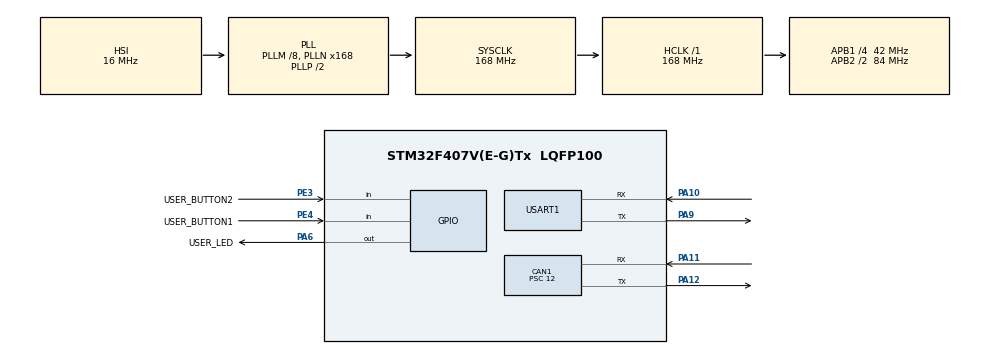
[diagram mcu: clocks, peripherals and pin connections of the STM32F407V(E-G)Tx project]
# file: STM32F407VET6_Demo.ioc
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CAN1.BS1=CAN_BS1_3TQ
CAN1.BS2=CAN_BS2_3TQ
CAN1.CalculateBaudRate=500000
CAN1.CalculateTimeBit=2000
CAN1.CalculateTimeQuantum=285.7142857142857
CAN1.Prescaler=12
CAN1.SJW=CAN_SJW_2TQ
Dma.Request0=USART1_RX
Dma.USART1_RX.0.Direction=DMA_PERIPH_TO_MEMORY
Dma.USART1_RX.0.FIFOMode=DMA_FIFOMODE_DISABLE
Dma.USART1_RX.0.Instance=DMA2_Stream2
Dma.USART1_RX.0.MemDataAlignment=DMA_MDATAALIGN_BYTE
Dma.USART1_RX.0.MemInc=DMA_MINC_ENABLE
Dma.USART1_RX.0.Mode=DMA_CIRCULAR
Dma.USART1_RX.0.PeriphDataAlignment=DMA_PDATAALIGN_BYTE
Dma.USART1_RX.0.PeriphInc=DMA_PINC_DISABLE
Dma.USART1_RX.0.Priority=DMA_PRIORITY_LOW
Mcu.Family=STM32F4
Mcu.Name=STM32F407V(E-G)Tx
Mcu.Package=LQFP100
NVIC.CAN1_RX0_IRQn=true\:0\:0\:false\:false\:true\:true\:true\:true
NVIC.DMA2_Stream2_IRQn=true\:0\:0\:false\:false\:true\:false\:true\:true
NVIC.PriorityGroup=NVIC_PRIORITYGROUP_4
NVIC.TIM6_DAC_IRQn=true\:0\:0\:false\:false\:true\:true\:true\:true
NVIC.TIM7_IRQn=true\:15\:0\:false\:false\:true\:false\:true\:true
NVIC.TimeBase=TIM7_IRQn
NVIC.TimeBaseIP=TIM7
NVIC.USART1_IRQn=true\:0\:0\:false\:false\:true\:true\:true\:true
PA10.Mode=Asynchronous
PA10.Signal=USART1_RX
PA11.Mode=CAN_Activate
PA11.Signal=CAN1_RX
PA12.Mode=CAN_Activate
PA12.Signal=CAN1_TX
PA13.Mode=Serial_Wire
PA13.Signal=SYS_JTMS-SWDIO
PA14.Mode=Serial_Wire
PA14.Signal=SYS_JTCK-SWCLK
PA6.GPIO_Label=USER_LED
PA6.Signal=GPIO_Output
PA9.Mode=Asynchronous
PA9.Signal=USART1_TX
PC14-OSC32_IN.Mode=LSE-External-Oscillator
PC14-OSC32_IN.Signal=RCC_OSC32_IN
PC15-OSC32_OUT.Mode=LSE-External-Oscillator
PC15-OSC32_OUT.Signal=RCC_OSC32_OUT
PE3.GPIO_Label=USER_BUTTON2
PE3.GPIO_PuPd=GPIO_PULLUP
PE3.Signal=GPIO_Input
PE4.GPIO_Label=USER_BUTTON1
PE4.GPIO_PuPd=GPIO_PULLUP
PE4.Signal=GPIO_Input
PH0-OSC_IN.Mode=HSE-External-Oscillator
PH0-OSC_IN.Signal=RCC_OSC_IN
PH1-OSC_OUT.Mode=HSE-External-Oscillator
PH1-OSC_OUT.Signal=RCC_OSC_OUT
ProjectManager.HeapSize=0x200
ProjectManager.StackSize=0x400
ProjectManager.TargetToolchain=STM32CubeIDE
RCC.48MHZClocksFreq_Value=84000000
RCC.AHBFreq_Value=168000000
RCC.APB1CLKDivider=RCC_HCLK_DIV4
RCC.APB1Freq_Value=42000000
RCC.APB1TimFreq_Value=84000000
RCC.APB2CLKDivider=RCC_HCLK_DIV2
RCC.APB2Freq_Value=84000000
RCC.APB2TimFreq_Value=168000000
RCC.CortexFreq_Value=168000000
RCC.HCLKFreq_Value=168000000
RCC.HSE_VALUE=8000000
RCC.HSI_VALUE=16000000
RCC.PLLM=8
RCC.PLLN=168
RCC.SYSCLKFreq_VALUE=168000000
RCC.SYSCLKSource=RCC_SYSCLKSOURCE_PLLCLK
RCC.VCOOutputFreq_Value=336000000
TIM6.Period=49
TIM6.Prescaler=8399
USART1.VirtualMode=VM_ASYNC
VP_RTC_VS_RTC_Activate.Mode=RTC_Enabled
VP_SYS_VS_tim7.Mode=TIM7
VP_TIM6_VS_ClockSourceINT.Mode=Enable_Timer
board=custom

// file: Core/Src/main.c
/* USER CODE BEGIN Header */
/**
  ******************************************************************************
  * @file           : main.c
  * @brief          : Main program body
  ******************************************************************************
  * @attention
  *
  * Copyright (c) 2025 STMicroelectronics.
  * All rights reserved.
  *
  * This software is licensed under terms that can be found in the LICENSE file
  * in the root directory of this software component.
  * If no LICENSE file comes with this software, it is provided AS-IS.
  *
  ******************************************************************************
  */
/* USER CODE END Header */
#include "main.h"
#include "can.h"
#include "dma.h"
#include "rtc.h"
#include "tim.h"
#include "usart.h"
#include "gpio.h"

/* USER CODE BEGIN Includes */
#include "logger.h"
#include "multi_button_user.h"
#include "lwshell/lwshell_user.h"
#include "smarttimer_user.h"
#include "isotp.h"

/* USER CODE END Includes */

/* USER CODE BEGIN PV */
uint8_t isotp_rx_buf[256];
uint32_t isotp_rx_len;
/* USER CODE END PV */

void SystemClock_Config(void);

int main(void)
{

  /* USER CODE BEGIN 1 */
  stim_init();
  //set_timetick();

  /* USER CODE END 1 */

  /* MCU Configuration--------------------------------------------------------*/

  /* Reset of all peripherals, Initializes the Flash interface and the Systick. */
  HAL_Init();

  /* Configure the system clock */
  SystemClock_Config();

  /* Initialize all configured peripherals */
  MX_GPIO_Init();
  MX_DMA_Init();
  MX_USART1_UART_Init();
  MX_TIM6_Init();
  MX_CAN1_Init();
  MX_RTC_Init();
  /* USER CODE BEGIN 2 */

  logger_init();
  uart_init();

  logger_info("System Start!!!");
  /* USER CODE END 2 */

  /* Infinite loop */
  /* USER CODE BEGIN WHILE */

	buttons_init();
  lwshell_user_init();
  isotp_init();

  while (1)
  {
    /* USER CODE END WHILE */

    /* USER CODE BEGIN 3 */
    //HAL_Delay(1000);
    stim_mainloop();
    isotp_polling();
    if(isotp_receiving(isotp_rx_buf, sizeof(isotp_rx_buf), &isotp_rx_len) == ISOTP_RET_OK) {
      /* Handle physical addressing message */
      logger_hex(isotp_rx_buf, isotp_rx_len);
    }
  }
  /* USER CODE END 3 */
}

void SystemClock_Config(void)
{
  RCC_OscInitTypeDef RCC_OscInitStruct = {0};
  RCC_ClkInitTypeDef RCC_ClkInitStruct = {0};

  /** Configure the main internal regulator output voltage
  */
  __HAL_RCC_PWR_CLK_ENABLE();
  __HAL_PWR_VOLTAGESCALING_CONFIG(PWR_REGULATOR_VOLTAGE_SCALE1);

  /** Initializes the RCC Oscillators according to the specified parameters
  * in the RCC_OscInitTypeDef structure.
  */
  RCC_OscInitStruct.OscillatorType = RCC_OSCILLATORTYPE_HSI|RCC_OSCILLATORTYPE_LSI;
  RCC_OscInitStruct.HSIState = RCC_HSI_ON;
  RCC_OscInitStruct.HSICalibrationValue = RCC_HSICALIBRATION_DEFAULT;
  RCC_OscInitStruct.LSIState = RCC_LSI_ON;
  RCC_OscInitStruct.PLL.PLLState = RCC_PLL_ON;
  RCC_OscInitStruct.PLL.PLLSource = RCC_PLLSOURCE_HSI;
  RCC_OscInitStruct.PLL.PLLM = 8;
  RCC_OscInitStruct.PLL.PLLN = 168;
  RCC_OscInitStruct.PLL.PLLP = RCC_PLLP_DIV2;
  RCC_OscInitStruct.PLL.PLLQ = 4;
  if (HAL_RCC_OscConfig(&RCC_OscInitStruct) != HAL_OK)
  {
    Error_Handler();
  }

  /** Initializes the CPU, AHB and APB buses clocks
  */
  RCC_ClkInitStruct.ClockType = RCC_CLOCKTYPE_HCLK|RCC_CLOCKTYPE_SYSCLK
                              |RCC_CLOCKTYPE_PCLK1|RCC_CLOCKTYPE_PCLK2;
  RCC_ClkInitStruct.SYSCLKSource = RCC_SYSCLKSOURCE_PLLCLK;
  RCC_ClkInitStruct.AHBCLKDivider = RCC_SYSCLK_DIV1;
  RCC_ClkInitStruct.APB1CLKDivider = RCC_HCLK_DIV4;
  RCC_ClkInitStruct.APB2CLKDivider = RCC_HCLK_DIV2;

  if (HAL_RCC_ClockConfig(&RCC_ClkInitStruct, FLASH_LATENCY_5) != HAL_OK)
  {
    Error_Handler();
  }
}

void HAL_TIM_PeriodElapsedCallback(TIM_HandleTypeDef *htim)
{
  /* USER CODE BEGIN Callback 0 */
  if (htim->Instance == TIM7)
  {
    stim_tick();
  }
  /* USER CODE END Callback 0 */
  if (htim->Instance == TIM7)
  {
    HAL_IncTick();
  }
  /* USER CODE BEGIN Callback 1 */
  if (htim->Instance == TIM6)
  {
    button_ticks();
  }
  /* USER CODE END Callback 1 */
}

void Error_Handler(void)
{
  __disable_irq();
  while (1)
  {
  }
}
